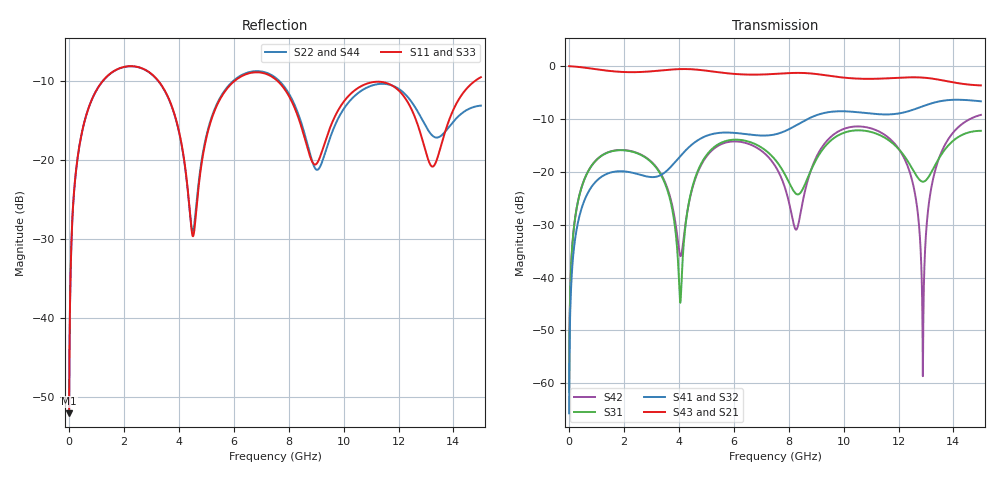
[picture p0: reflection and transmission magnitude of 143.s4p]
! Created with skrf 1.8.0 (http://scikit-rf.org).
# GHz S RI R 50.0
!freq ReS11 ImS11 ReS12 ImS12 ReS13 ImS13
! ReS14 ImS14
! ReS21 ImS21 ReS22 ImS22 ReS23 ImS23
! ReS24 ImS24
! ReS31 ImS31 ReS32 ImS32 ReS33 ImS33
! ReS34 ImS34
! ReS41 ImS41 ReS42 ImS42 ReS43 ImS43
! ReS44 ImS44
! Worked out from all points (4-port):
!   2499 points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, 5 MHz to 15 GHz, reference 50 ohm
!   strongest paths, dB at 5 MHz, 3.476 GHz, 7.19 GHz, 11.1 GHz, 15 GHz:
!     S43: 0.0, -0.8, -1.6, -2.4, -3.7
!     S21: 0.0, -0.8, -1.6, -2.4, -3.6
!     S41: -65.7, -20.2, -13.1, -9.0, -6.7
!     S32: -65.7, -20.2, -13.1, -9.0, -6.7
!     S31: -61.6, -21.9, -16.1, -12.6, -12.2
!     S42: -61.6, -21.7, -16.8, -11.9, -9.2
!   lowest |S11| = -52.1 dB at 5 MHz (marker M1), VSWR 1.00, Z = 50.2 + j0.151 ohm
!   |S11| at or under -10 dB: start of sweep to 1.238 GHz; 3.248 GHz to 6.038 GHz (2.79 GHz wide, 60.1 % of centre); 7.586 GHz to 14.79 GHz (7.208 GHz wide, 64.4 % of centre)
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0.005  0.00199 0.0015  0.998 -0.00386  0.000102 0.000824  -9.9e-05 -0.000512
       0.998 -0.00386  0.00199 0.0015  -9.9e-05 -0.000512  0.000102 0.000824
       0.000102 0.000824  -9.9e-05 -0.000512  0.00199 0.0015  0.998 -0.00386
       -9.9e-05 -0.000512  0.000102 0.000824  0.998 -0.00386  0.00199 0.0015
1.269279  0.2677 0.177  0.5541 -0.7249  0.1308 0.0655  -0.0924 -0.0071
          0.5541 -0.7249  0.2674 0.1773  -0.0924 -0.0071  0.1319 0.0642
          0.1308 0.0655  -0.0924 -0.0071  0.2677 0.1771  0.5541 -0.7249
          -0.0924 -0.0071  0.1319 0.0642  0.5541 -0.7249  0.2673 0.1773
4.051688  0.0695 -0.1204  -0.8593 -0.372  -0.00559 -0.0015  -0.052 0.1307
          -0.8593 -0.372  0.0711 -0.118  -0.0519 0.1307  -0.015 -0.00582
          -0.00559 -0.0015  -0.0519 0.1307  0.0698 -0.1203  -0.8592 -0.3722
          -0.052 0.1307  -0.015 -0.00582  -0.8592 -0.3722  0.0708 -0.1181
6.990413  0.3547 -0.0325  -0.00524 0.8301  0.1427 -0.0944  0.2115 -0.062
          -0.00524 0.8301  0.3604 -0.0384  0.2112 -0.0619  0.1424 -0.0714
          0.1427 -0.0944  0.2112 -0.0619  0.351 -0.0337  -0.00574 0.8316
          0.2115 -0.062  0.1424 -0.0714  -0.00574 0.8316  0.3568 -0.0364
11.67987  0.2897 -0.0796  0.0193 -0.767  0.1593 -0.1141  -0.3436 0.0631
          0.0193 -0.767  0.2935 -0.0539  -0.3443 0.0643  0.1762 -0.1062
          0.1593 -0.1141  -0.3443 0.0643  0.289 -0.0747  0.0218 -0.7673
          -0.3436 0.0631  0.1762 -0.1062  0.0218 -0.7673  0.2932 -0.056
12.88662  0.1096 -0.0711  -0.5748 -0.5233  -0.0734 -0.0338  -0.2725 0.3157
          -0.5748 -0.5233  0.155 -0.084  -0.2709 0.3167  -0.00109 -0.000433
          -0.0734 -0.0338  -0.2709 0.3167  0.1096 -0.0647  -0.5738 -0.5255
          -0.2725 0.3157  -0.00109 -0.000433  -0.5738 -0.5255  0.1498 -0.0822
15  0.3277 0.061  -0.5241 0.3973  0.1914 0.1517  0.3561 0.2983
    -0.5241 0.3973  0.2196 -0.0154  0.3553 0.2968  0.3441 0.0316
    0.1914 0.1517  0.3553 0.2968  0.3323 0.0644  -0.5259 0.3933
    0.3561 0.2983  0.3441 0.0316  -0.5259 0.3933  0.2203 -0.00812
